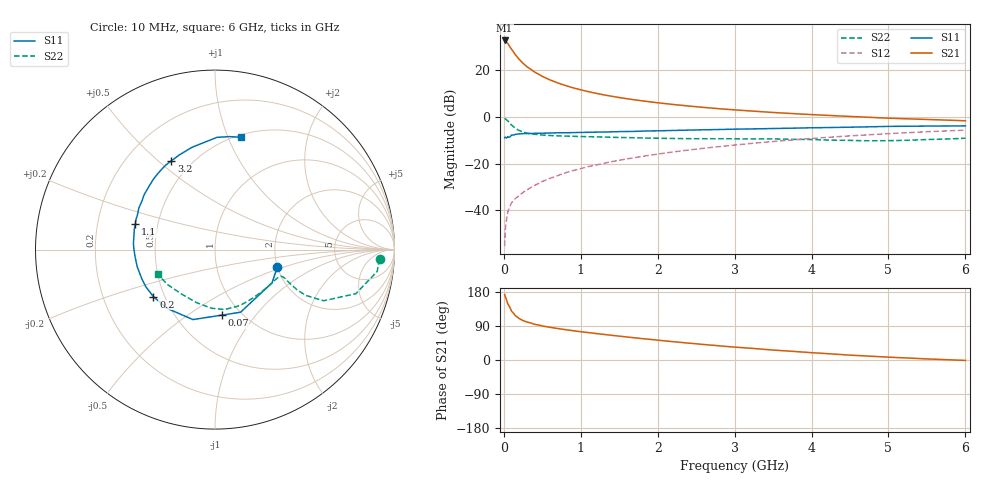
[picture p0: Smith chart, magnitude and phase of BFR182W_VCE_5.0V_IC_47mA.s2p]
! Infineon Technologies  Discrete & RF Semiconductors
! BFR182W
! VCE =  5.0 V,  IC =  47 mA
! Common Emitter S-Parameters:  Jan 2017
# GHz  S  MA  R  50
!  f  S11  S21  S12  S22
! GHz  MAG  ANG  MAG  ANG  MAG  ANG  MAG  ANG
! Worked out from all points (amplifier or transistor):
!   77 points, 10 MHz to 6 GHz, reference 50 ohm
!   highest |S21| = 32.7 dB at 10 MHz (marker M1)
!   |S21| within 3 dB of that: start of sweep to 84.66 MHz
!   unconditionally stable (mu >= 1): start of sweep to 10.00427 MHz; 361.8 MHz to 2.309 GHz
!   at 130 MHz: K = 0.64, MSG = 31.7 dB, |S12| = -35.7 dB
!   at 2.2 GHz: K = 1.01, MAG = 9.5 dB, |S12| = -15.0 dB
!   at 6 GHz: K = 0.89, MSG = 2.0 dB, |S12| = -5.7 dB
!   S11 on the Smith chart (normalised r, x): 10 MHz: 2.00, -0.43; 70 MHz: 0.81, -0.69; 200 MHz: 0.43, -0.28; 1.1 GHz: 0.37, +0.14; 3.2 GHz: 0.39, +0.55; 6 GHz: 0.52, +1.11
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0.01  0.36 -15.2  43.31 172.9  0.0017 72.1  0.9183 -3.3
0.02  0.3681 -30.1  42.83 166.6  0.004 85.7  0.9116 -7.7
0.05  0.3768 -67.8  37.64 148.8  0.0089 72.8  0.8222 -17.4
0.07  0.3671 -84.3  33.4 142.2  0.0111 68.6  0.7594 -20.1
0.1  0.4088 -107.5  28.2 128.8  0.0144 64.8  0.6691 -25.2
0.11  0.4067 -111.9  26.77 126.9  0.0151 64.0  0.6487 -25.5
0.15  0.4226 -129.3  21.43 117.0  0.0178 61.5  0.5672 -26.8
0.2  0.4319 -142.7  16.99 109.4  0.0207 64.0  0.5094 -26.1
0.25  0.4374 -151.9  14.03 103.9  0.0241 64.0  0.4735 -24.9
0.3  0.439 -158.4  11.86 100.2  0.0273 65.2  0.4489 -23.9
0.4  0.4437 -167.6  9.114 94.2  0.0339 70.0  0.4233 -22.4
0.5  0.4468 -174.4  7.36 89.9  0.0412 71.2  0.408 -21.9
0.7  0.4558 175.8  5.339 83.1  0.0552 74.7  0.3924 -22.3
0.9  0.4601 168.5  4.187 77.3  0.0707 75.0  0.3832 -24.2
1.1  0.4665 162.0  3.468 72.3  0.0862 75.7  0.3763 -26.6
1.5  0.4834 151.4  2.593 63.0  0.1178 74.7  0.3622 -33.2
2.1  0.5066 137.5  1.922 50.4  0.1683 71.7  0.3461 -46.1
3.1  0.5481 118.0  1.375 32.6  0.2585 63.8  0.338 -71.2
3.2  0.5511 116.2  1.341 31.1  0.268 62.8  0.3371 -73.6
4.1  0.5868 101.2  1.098 18.1  0.3539 53.8  0.3229 -96.3
5.1  0.6266 87.7  0.925 6.6  0.4457 42.4  0.3109 -129.6
6  0.6416 77.2  0.826 -1.1  0.52 31.9  0.3485 -156.8
